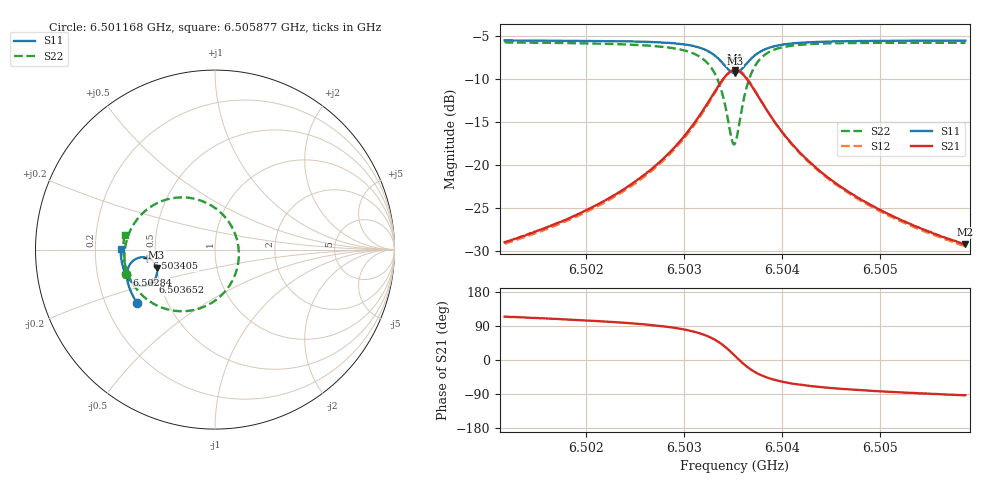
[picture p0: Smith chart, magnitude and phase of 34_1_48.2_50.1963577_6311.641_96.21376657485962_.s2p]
#  HZ  S  RI  R  50.00
! Rohde & Schwarz Vector Network Analyzer
! Rohde-Schwarz,ZNB20-2Port,1311601062101988,3.16
! Created: UTC 3/20/2024, 11:37:34 AM
! freq[Hz]  re:S11  im:S11  re:S21  im:S21  re:S12  im:S12  re:S22  im:S22
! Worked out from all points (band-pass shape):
!   401 points, 6.501168 GHz to 6.505877 GHz, reference 50 ohm
!   highest |S21| = -9.02 dB at 6.503522 GHz (marker M1); lowest = -29.2 dB at 6.505877 GHz (marker M2)
!   |S21| within 3 dB of the highest: 6.503286 GHz to 6.503758 GHz (471.2 kHz wide, 0.00725 % of centre)
!   lowest |S11| = -9.4 dB at 6.503522 GHz (marker M3), VSWR 2.03, Z = 25 - j5.66 ohm
!   |S11| at or under -10 dB: nowhere
!   |S22| runs from -17.6 to -5.8 dB; largest |S21 - S12| = 0.013
!   S11 on the Smith chart (normalised r, x): 6.501168 GHz: 0.34, -0.27; 6.50284 GHz: 0.33, -0.12; 6.503405 GHz: 0.45, -0.05; 6.503652 GHz: 0.46, -0.20; 6.505877 GHz: 0.31, +0.00
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6.5011681e9  -0.4361 -0.2949  -0.0147 0.0326  -0.013 0.0326  -0.4953 -0.1332
6.5019568e9  -0.4686 -0.2346  -0.0138 0.0514  -0.0113 0.0509  -0.5047 -0.0452
6.5023805e9  -0.4827 -0.1956  -0.0105 0.0713  -0.00739 0.0701  -0.4994 0.0186
6.5027454e9  -0.4903 -0.1531  -0.000255 0.1034  0.00344 0.1007  -0.4762 0.097
6.5028396e9  -0.4906 -0.1397  0.00562 0.116  0.00949 0.1128  -0.4633 0.1239
6.5030397e9  -0.4847 -0.1051  0.0309 0.1528  0.0346 0.148  -0.4108 0.1951
6.503181e9  -0.4682 -0.0745  0.0727 0.188  0.0753 0.1817  -0.3297 0.2552
6.5033104e9  -0.4303 -0.0474  0.1536 0.2142  0.1541 0.2078  -0.1826 0.2909
6.5034046e9  -0.3816 -0.0454  0.249 0.1961  0.249 0.1913  -0.017 0.2438
6.503487e9  -0.3371 -0.0767  0.3301 0.1171  0.3327 0.113  0.1122 0.0876
6.5035223e9  -0.3257 -0.1001  0.3478 0.0658  0.3519 0.0604  0.1329 -0.00868
6.5035459e9  -0.3227 -0.1171  0.3511 0.0298  0.3554 0.0228  0.1294 -0.0752
6.5035812e9  -0.3253 -0.1424  0.3428 -0.0226  0.3467 -0.0319  0.0996 -0.1683
6.5036518e9  -0.3487 -0.1812  0.2933 -0.1017  0.2932 -0.1138  -0.0174 -0.296
6.503746e9  -0.3912 -0.2017  0.2113 -0.1459  0.206 -0.1567  -0.1845 -0.3434
6.5038166e9  -0.4183 -0.2016  0.1618 -0.151  0.1546 -0.1593  -0.2773 -0.3295
6.503899e9  -0.4421 -0.1944  0.1195 -0.1444  0.1122 -0.1502  -0.3511 -0.2965
6.5040638e9  -0.4722 -0.1733  0.0699 -0.1225  0.063 -0.125  -0.4318 -0.2265
6.504311e9  -0.4951 -0.1421  0.0358 -0.0944  0.0307 -0.0949  -0.4807 -0.1462
6.5046523e9  -0.5106 -0.1048  0.0163 -0.0701  0.0127 -0.0696  -0.5037 -0.0716
6.5050996e9  -0.5204 -0.0622  0.00536 -0.0515  0.00309 -0.0507  -0.5109 -0.00359
6.5058765e9  -0.5261 0.00466  -0.00182 -0.0347  -0.00335 -0.0338  -0.504 0.0827
